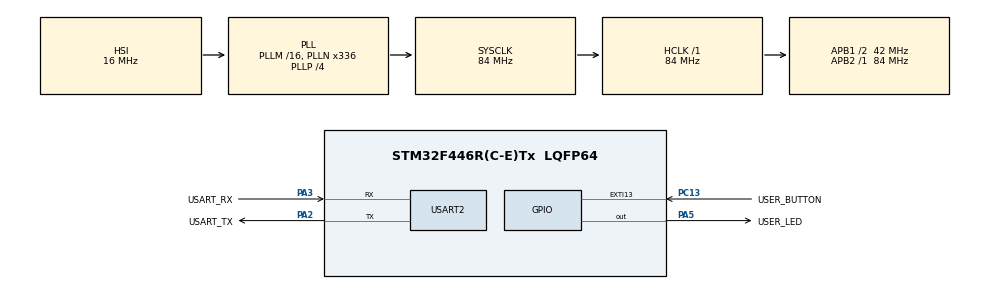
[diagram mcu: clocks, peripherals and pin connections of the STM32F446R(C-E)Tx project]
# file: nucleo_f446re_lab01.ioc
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Dma.Request0=USART2_RX
Dma.Request1=USART2_TX
Dma.USART2_RX.0.Direction=DMA_PERIPH_TO_MEMORY
Dma.USART2_RX.0.FIFOMode=DMA_FIFOMODE_DISABLE
Dma.USART2_RX.0.Instance=DMA1_Stream5
Dma.USART2_RX.0.MemDataAlignment=DMA_MDATAALIGN_BYTE
Dma.USART2_RX.0.MemInc=DMA_MINC_ENABLE
Dma.USART2_RX.0.Mode=DMA_CIRCULAR
Dma.USART2_RX.0.PeriphDataAlignment=DMA_PDATAALIGN_BYTE
Dma.USART2_RX.0.PeriphInc=DMA_PINC_DISABLE
Dma.USART2_RX.0.Priority=DMA_PRIORITY_HIGH
Dma.USART2_TX.1.Direction=DMA_MEMORY_TO_PERIPH
Dma.USART2_TX.1.FIFOMode=DMA_FIFOMODE_DISABLE
Dma.USART2_TX.1.Instance=DMA1_Stream6
Dma.USART2_TX.1.MemDataAlignment=DMA_MDATAALIGN_BYTE
Dma.USART2_TX.1.MemInc=DMA_MINC_ENABLE
Dma.USART2_TX.1.Mode=DMA_NORMAL
Dma.USART2_TX.1.PeriphDataAlignment=DMA_PDATAALIGN_BYTE
Dma.USART2_TX.1.PeriphInc=DMA_PINC_DISABLE
Dma.USART2_TX.1.Priority=DMA_PRIORITY_LOW
Mcu.Family=STM32F4
Mcu.Name=STM32F446R(C-E)Tx
Mcu.Package=LQFP64
NVIC.DMA1_Stream5_IRQn=true\:0\:0\:false\:false\:true\:false\:true\:true
NVIC.DMA1_Stream6_IRQn=true\:0\:0\:false\:false\:true\:false\:true\:true
NVIC.EXTI15_10_IRQn=true\:0\:0\:false\:false\:true\:true\:true\:true
NVIC.PriorityGroup=NVIC_PRIORITYGROUP_0
NVIC.USART2_IRQn=true\:0\:0\:false\:false\:true\:true\:true\:true
PA13.GPIO_Label=TMS
PA13.Signal=SYS_JTMS-SWDIO
PA14.GPIO_Label=TCK
PA14.Signal=SYS_JTCK-SWCLK
PA2.GPIO_Label=USART_TX
PA2.Mode=Asynchronous
PA2.Signal=USART2_TX
PA3.GPIO_Label=USART_RX
PA3.Mode=Asynchronous
PA3.Signal=USART2_RX
PA5.GPIO_Label=USER_LED
PA5.Signal=GPIO_Output
PB3.GPIO_Label=SWO
PB3.Signal=SYS_JTDO-SWO
PC13.GPIO_Label=USER_BUTTON
PC13.GPIO_ModeDefaultEXTI=GPIO_MODE_IT_RISING_FALLING
PC13.Signal=GPXTI13
PC14-OSC32_IN.Signal=RCC_OSC32_IN
PC15-OSC32_OUT.Signal=RCC_OSC32_OUT
PH0-OSC_IN.Signal=RCC_OSC_IN
PH1-OSC_OUT.Signal=RCC_OSC_OUT
ProjectManager.HeapSize=0x200
ProjectManager.StackSize=0x400
ProjectManager.TargetToolchain=STM32CubeIDE
RCC.AHBFreq_Value=84000000
RCC.APB1CLKDivider=RCC_HCLK_DIV2
RCC.APB1Freq_Value=42000000
RCC.APB1TimFreq_Value=84000000
RCC.APB2Freq_Value=84000000
RCC.APB2TimFreq_Value=84000000
RCC.CortexFreq_Value=84000000
RCC.FLatency-AdvancedSettings=FLASH_LATENCY_2
RCC.HCLKFreq_Value=84000000
RCC.HSE_VALUE=8000000
RCC.HSI_VALUE=16000000
RCC.LSE_VALUE=32768
RCC.PLLN=336
RCC.PLLP=RCC_PLLP_DIV4
RCC.SYSCLKFreq_VALUE=84000000
RCC.SYSCLKSource=RCC_SYSCLKSOURCE_PLLCLK
RCC.USBFreq_Value=168000000
RCC.VCOOutputFreq_Value=336000000
USART2.VirtualMode=VM_ASYNC
board=NUCLEO-F446RE

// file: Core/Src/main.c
/* USER CODE BEGIN Header */
/**
  ******************************************************************************
  * @file           : main.c
  * @brief          : Main program body
  ******************************************************************************
  * @attention
  *
  * Copyright (c) 2026 STMicroelectronics.
  * All rights reserved.
  *
  * This software is licensed under terms that can be found in the LICENSE file
  * in the root directory of this software component.
  * If no LICENSE file comes with this software, it is provided AS-IS.
  *
  ******************************************************************************
  */
/* USER CODE END Header */
#include "main.h"
#include "dma.h"
#include "usart.h"
#include "gpio.h"

/* USER CODE BEGIN Includes */
#include <stdbool.h>
#include <string.h>
#include <stdio.h>
#include <inttypes.h>
#include "command_parser.h"
#include "dma_circular_stream.h"
#include "uart_tx_adapter.h"
/* USER CODE END Includes */

/* USER CODE BEGIN PTD */

typedef enum {
    BUTTON_EVENT_NONE,
    BUTTON_EVENT_PRESSED,
    BUTTON_EVENT_RELEASED
} ButtonEvent;

/* USER CODE END PTD */

/* USER CODE BEGIN PD */

#define BUTTON_DEBOUNCE_MS 30U
#define UART_DMA_RX_BUFFER_SIZE 256U
#define UART_TX_BUFFER_SIZE 128U
#define STATUS_RESPONSE_SIZE 160U

_Static_assert(
    UART_DMA_RX_BUFFER_SIZE > 1U &&
    (UART_DMA_RX_BUFFER_SIZE &
        (UART_DMA_RX_BUFFER_SIZE - 1U)) == 0U,
    "UART DMA RX buffer size must be a power of two"
);

/* USER CODE END PD */

/* USER CODE BEGIN PV */

static volatile uint32_t raw_edge_count = 0;
static volatile uint32_t last_edge_time = 0;
static volatile bool debounce_pending = false;
static const uint8_t button_message[] = "BUTTON PRESSED\r\n";
static bool stable_pressed = false;

static volatile uint32_t uart_rx_count = 0;
static uint32_t pending_button_messages = 0;

//кільцевий буфер для прийома
static uint8_t uart_dma_rx_buffer[UART_DMA_RX_BUFFER_SIZE];
static DmaCircularStream uart_rx_stream;

//кільцевий буфер для передачі
static uint8_t uart_tx_buffer[UART_TX_BUFFER_SIZE];
static UartTxAdapter uart_tx;

//обробка ORE (помилка переповнення під час запису)
static volatile uint32_t uart_rx_error_count = 0;
static volatile uint32_t uart_rx_last_error = HAL_UART_ERROR_NONE;
static volatile uint32_t uart_rx_restart_error_count = 0;

static volatile bool uart_rx_recovery_requested = false;

//передача строки/команди через UART
static CommandParser command_parser;
static volatile uint32_t command_count = 0;

static const uint8_t response_ok[] = "OK\r\n";
static const uint8_t response_unknown[] = "ERROR: UNKNOWN COMMAND\r\n";

static const uint8_t *pending_response = NULL;
static size_t pending_response_length = 0;
static uint8_t response_status[STATUS_RESPONSE_SIZE];

/* USER CODE END PV */

void SystemClock_Config(void);
/* USER CODE BEGIN PFP */
static bool pending_response_try_enqueue(void);
static void uart_rx_recovery_poll(void);
static ButtonEvent button_debounce_poll(void);
void HAL_UART_ErrorCallback(UART_HandleTypeDef *huart);
void HAL_UARTEx_RxEventCallback(UART_HandleTypeDef *huart, uint16_t size);
//для передачі строки/команди через UART
static void command_process(const char *command);
/* USER CODE END PFP */

int main(void)
{

  /* MCU Configuration--------------------------------------------------------*/

  /* Reset of all peripherals, Initializes the Flash interface and the Systick. */
  HAL_Init();

  /* Configure the system clock */
  SystemClock_Config();

  /* Initialize all configured peripherals */
  MX_GPIO_Init();
  MX_DMA_Init();
  MX_USART2_UART_Init();
  /* USER CODE BEGIN 2 */

  command_parser_init(&command_parser);

  if (!uart_tx_adapter_init(
          &uart_tx,
          &huart2,
          uart_tx_buffer,
          UART_TX_BUFFER_SIZE
      ))
  {
      Error_Handler();
  }

  if (!dma_circular_stream_init(
          &uart_rx_stream,
          uart_dma_rx_buffer,
          UART_DMA_RX_BUFFER_SIZE
      ))
  {
      Error_Handler();
  }

  if (HAL_UARTEx_ReceiveToIdle_DMA(
          &huart2,
          uart_dma_rx_buffer,
          UART_DMA_RX_BUFFER_SIZE
      ) != HAL_OK)
  {
      Error_Handler();
  }

  stable_pressed =
      HAL_GPIO_ReadPin(
          USER_BUTTON_GPIO_Port,
          USER_BUTTON_Pin
      ) == GPIO_PIN_RESET;

  /* USER CODE END 2 */

  /* Infinite loop */
  while (1)
  {

    /* USER CODE BEGIN 3 */
	  uart_tx_adapter_poll(&uart_tx);

	  if (uart_rx_recovery_requested)
	  {
	      uart_rx_recovery_poll();
	      continue;
	  }

	  ButtonEvent button_event = button_debounce_poll();

	  if (button_event == BUTTON_EVENT_PRESSED)
	  {
	      HAL_GPIO_TogglePin(
	          USER_LED_GPIO_Port,
	          USER_LED_Pin
	      );

	      pending_button_messages++;
	  }

	  if (pending_response != NULL)
	  {
	      if (uart_tx_adapter_write(
	              &uart_tx,
	              pending_response,
	              pending_response_length
	          ))
	      {
	          pending_response = NULL;
	          pending_response_length = 0U;
	      }
	  }
	  else if (pending_button_messages > 0U)
	  {
	      if (uart_tx_adapter_write(
	              &uart_tx,
	              button_message,
	              sizeof(button_message) - 1U
	          ))
	      {
	          pending_button_messages--;
	      }
	  }
	  else
	  {
		  const uint8_t *received_data;
		  bool data_lost;
		  size_t consumed_length = 0U;

		  size_t received_length =
		      dma_circular_stream_peek(
		          &uart_rx_stream,
		          &received_data,
		          &data_lost
		      );

		  if (data_lost)
		  {
		      command_parser_discard_until_eol(
		          &command_parser
		      );
		  }

		  for (size_t i = 0U; i < received_length; i++)
		  {
		      const char *command;

		      consumed_length++;

		      if (command_parser_feed_byte(
		              &command_parser,
		              received_data[i],
		              &command
		          ))
		      {
		          command_count++;
		          command_process(command);

		          /*
		           * Зазвичай відповідь одразу копіюється в TX queue.
		           * Якщо місця немає, вона залишається pending,
		           * а наступні RX-байти поки не споживаються.
		           */
		          if (!pending_response_try_enqueue())
		          {
		              break;
		          }
		      }
		  }

		  if (!dma_circular_stream_consume(
		          &uart_rx_stream,
		          consumed_length
		      ))
		  {
		      Error_Handler();
		  }
	  }
  }
  /* USER CODE END 3 */
}

void SystemClock_Config(void)
{
  RCC_OscInitTypeDef RCC_OscInitStruct = {0};
  RCC_ClkInitTypeDef RCC_ClkInitStruct = {0};

  /** Configure the main internal regulator output voltage
  */
  __HAL_RCC_PWR_CLK_ENABLE();
  __HAL_PWR_VOLTAGESCALING_CONFIG(PWR_REGULATOR_VOLTAGE_SCALE3);

  /** Initializes the RCC Oscillators according to the specified parameters
  * in the RCC_OscInitTypeDef structure.
  */
  RCC_OscInitStruct.OscillatorType = RCC_OSCILLATORTYPE_HSI;
  RCC_OscInitStruct.HSIState = RCC_HSI_ON;
  RCC_OscInitStruct.HSICalibrationValue = RCC_HSICALIBRATION_DEFAULT;
  RCC_OscInitStruct.PLL.PLLState = RCC_PLL_ON;
  RCC_OscInitStruct.PLL.PLLSource = RCC_PLLSOURCE_HSI;
  RCC_OscInitStruct.PLL.PLLM = 16;
  RCC_OscInitStruct.PLL.PLLN = 336;
  RCC_OscInitStruct.PLL.PLLP = RCC_PLLP_DIV4;
  RCC_OscInitStruct.PLL.PLLQ = 2;
  RCC_OscInitStruct.PLL.PLLR = 2;
  if (HAL_RCC_OscConfig(&RCC_OscInitStruct) != HAL_OK)
  {
    Error_Handler();
  }

  /** Initializes the CPU, AHB and APB buses clocks
  */
  RCC_ClkInitStruct.ClockType = RCC_CLOCKTYPE_HCLK|RCC_CLOCKTYPE_SYSCLK
                              |RCC_CLOCKTYPE_PCLK1|RCC_CLOCKTYPE_PCLK2;
  RCC_ClkInitStruct.SYSCLKSource = RCC_SYSCLKSOURCE_PLLCLK;
  RCC_ClkInitStruct.AHBCLKDivider = RCC_SYSCLK_DIV1;
  RCC_ClkInitStruct.APB1CLKDivider = RCC_HCLK_DIV2;
  RCC_ClkInitStruct.APB2CLKDivider = RCC_HCLK_DIV1;

  if (HAL_RCC_ClockConfig(&RCC_ClkInitStruct, FLASH_LATENCY_2) != HAL_OK)
  {
    Error_Handler();
  }
}

/* USER CODE BEGIN 4 */
//коректне відновлення DMA після UART error
static void uart_rx_recovery_poll(void)
{
    uint32_t primask = __get_PRIMASK();
    __disable_irq();

    if (!uart_rx_recovery_requested)
    {
        __set_PRIMASK(primask);
        return;
    }

    dma_circular_stream_reset_for_restart(
        &uart_rx_stream
    );

    command_parser_reset(&command_parser);

    uart_rx_recovery_requested = false;

    __set_PRIMASK(primask);

    if (HAL_UARTEx_ReceiveToIdle_DMA(
            &huart2,
            uart_dma_rx_buffer,
            UART_DMA_RX_BUFFER_SIZE
        ) != HAL_OK)
    {
        uart_rx_restart_error_count++;
        uart_rx_recovery_requested = true;
    }
}

static bool pending_response_try_enqueue(void)
{
    if (pending_response == NULL)
    {
        return true;
    }

    if (!uart_tx_adapter_write(
            &uart_tx,
            pending_response,
            pending_response_length
        ))
    {
        return false;
    }

    pending_response = NULL;
    pending_response_length = 0U;
    return true;
}

//обробка отриманих з UART команд
static void command_process(const char *command)
{
	if (command == NULL)
	{
	    return;
	}

    if (strcmp(command, "LED ON") == 0)
    {
        HAL_GPIO_WritePin(
            USER_LED_GPIO_Port,
            USER_LED_Pin,
            GPIO_PIN_SET
        );

        pending_response = response_ok;
        pending_response_length = sizeof(response_ok) - 1U;
    }
    else if (strcmp(command, "LED OFF") == 0)
    {
        HAL_GPIO_WritePin(
            USER_LED_GPIO_Port,
            USER_LED_Pin,
            GPIO_PIN_RESET
        );

        pending_response = response_ok;
        pending_response_length = sizeof(response_ok) - 1U;
    }
    else if (strcmp(command, "LED TOGGLE") == 0)
    {
        HAL_GPIO_TogglePin(
            USER_LED_GPIO_Port,
            USER_LED_Pin
        );

        pending_response = response_ok;
        pending_response_length = sizeof(response_ok) - 1U;
    }
    else if (strcmp(command, "STATUS") == 0)
    {
		uint32_t rx_count_snapshot;
		uint32_t rx_overflow_snapshot;
		uint32_t uart_error_snapshot;
		uint32_t uart_restart_error_snapshot;
		uint32_t uart_last_error_snapshot;
		uint32_t command_overflow_snapshot;
		uint32_t uart_tx_error_snapshot;

		uint32_t primask = __get_PRIMASK();
    	__disable_irq();

			rx_count_snapshot = uart_rx_count;
			uart_error_snapshot = uart_rx_error_count;
			uart_restart_error_snapshot = uart_rx_restart_error_count;
			uart_last_error_snapshot = uart_rx_last_error;
			uart_tx_error_snapshot =
			    uart_tx_adapter_get_error_count(&uart_tx);

    	__set_PRIMASK(primask);

			rx_overflow_snapshot =
					dma_circular_stream_get_overflow_count(
							&uart_rx_stream
			);

			command_overflow_snapshot =
					command_parser_get_overflow_count(
							&command_parser
			);

		int length = snprintf(
			(char *)response_status,
			sizeof(response_status),
			"RX=%" PRIu32
			" RX_OVF=%" PRIu32
			" UART_ERR=%" PRIu32
			" UART_RESTART_ERR=%" PRIu32
			" UART_LAST=0x%08" PRIX32
			" UART_TX_ERR=%" PRIu32
			" CMD_OVF=%" PRIu32
			"\r\n",
			rx_count_snapshot,
			rx_overflow_snapshot,
			uart_error_snapshot,
			uart_restart_error_snapshot,
			uart_last_error_snapshot,
			uart_tx_error_snapshot,
			command_overflow_snapshot
		);

        if (length < 0)
        {
            pending_response = response_unknown;
            pending_response_length =
                sizeof(response_unknown) - 1U;
        }
        else
        {
            size_t actual_length = (size_t)length;

            if (actual_length >= sizeof(response_status))
            {
                actual_length = sizeof(response_status) - 1U;
            }

            pending_response = response_status;
            pending_response_length = actual_length;
        }
    }
    else
    {
        pending_response = response_unknown;
        pending_response_length =
            sizeof(response_unknown) - 1U;
    }
}

void HAL_UART_ErrorCallback(
    UART_HandleTypeDef *huart
)
{
    if (huart->Instance == USART2)
    {
        uart_rx_last_error = huart->ErrorCode;
        uart_rx_error_count++;
        uart_rx_recovery_requested = true;
    }
}

//TX Callback
void HAL_UART_TxCpltCallback(
    UART_HandleTypeDef *huart
)
{
    uart_tx_adapter_handle_tx_complete(
        &uart_tx,
        huart
    );
}

void HAL_GPIO_EXTI_Callback(uint16_t GPIO_Pin)
{
    if (GPIO_Pin == USER_BUTTON_Pin) {
        last_edge_time = HAL_GetTick();
        raw_edge_count++;
        debounce_pending = true;
    }
}

void HAL_UARTEx_RxEventCallback(
    UART_HandleTypeDef *huart,
    uint16_t size
)
{
    if (huart->Instance != USART2)
    {
        return;
    }

    uint32_t received =
        dma_circular_stream_publish_position(
            &uart_rx_stream,
            size
        );

    uart_rx_count += received;

}

static ButtonEvent button_debounce_poll(void)
{
    uint32_t edge_count_snapshot;
    uint32_t edge_time_snapshot;

    uint32_t primask = __get_PRIMASK();
    __disable_irq();

    if (!debounce_pending) {
        __set_PRIMASK(primask);
        return BUTTON_EVENT_NONE;
    }

    edge_count_snapshot = raw_edge_count;
    edge_time_snapshot = last_edge_time;

    __set_PRIMASK(primask);

    uint32_t now = HAL_GetTick();

    if ((uint32_t)(now - edge_time_snapshot) < BUTTON_DEBOUNCE_MS) {
        return BUTTON_EVENT_NONE;
    }

    GPIO_PinState pin_state =
        HAL_GPIO_ReadPin(
            USER_BUTTON_GPIO_Port,
            USER_BUTTON_Pin
        );

    /*
     * Перевіряємо, чи ISR не зафіксував новий edge,
     * поки main перевіряв час і читав GPIO.
     */
    primask = __get_PRIMASK();
    __disable_irq();

    if (raw_edge_count != edge_count_snapshot) {
        __set_PRIMASK(primask);
        return BUTTON_EVENT_NONE;
    }

    debounce_pending = false;

    __set_PRIMASK(primask);

    bool raw_pressed = (pin_state == GPIO_PIN_RESET);

    if (raw_pressed == stable_pressed) {
        return BUTTON_EVENT_NONE;
    }

    stable_pressed = raw_pressed;

    return stable_pressed
        ? BUTTON_EVENT_PRESSED
        : BUTTON_EVENT_RELEASED;
}

/* USER CODE END 4 */

void Error_Handler(void)
{
  __disable_irq();
  while (1)
  {
  }
}
